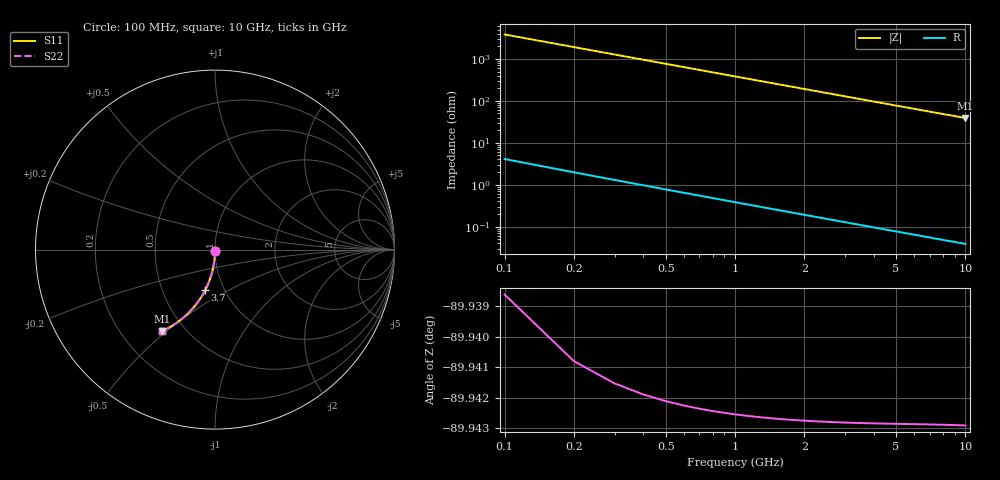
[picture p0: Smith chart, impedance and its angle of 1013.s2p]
# Hz S RI R 50.00
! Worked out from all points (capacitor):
!   100 points, 100 MHz to 10 GHz, reference 50 ohm
!   read as one part in shunt: C = 416 fF near 100 MHz
!   lowest |Z| = 38.9 ohm at 10 GHz (marker M1)
!   S11 on the Smith chart (normalised r, x): 100 MHz: 1.00, -0.01; 3.7 GHz: 0.81, -0.39; 10 GHz: 0.38, -0.48
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1e8  -4.67e-05 -0.00652  0.9999 -0.00655  0.9999 -0.00655  -4.67e-05 -0.00652
2e8  -0.000181 -0.013  0.9998 -0.0131  0.9998 -0.0131  -0.000181 -0.013
3e8  -0.000401 -0.0195  0.9996 -0.0196  0.9996 -0.0196  -0.000401 -0.0195
4e8  -0.000706 -0.0261  0.9993 -0.0262  0.9993 -0.0262  -0.000706 -0.0261
5e8  -0.0011 -0.0326  0.9989 -0.0327  0.9989 -0.0327  -0.0011 -0.0326
6e8  -0.00157 -0.039  0.9984 -0.0392  0.9984 -0.0392  -0.00157 -0.039
7e8  -0.00213 -0.0455  0.9979 -0.0457  0.9979 -0.0457  -0.00213 -0.0455
8e8  -0.00277 -0.052  0.9972 -0.0522  0.9972 -0.0522  -0.00277 -0.052
9e8  -0.0035 -0.0584  0.9965 -0.0587  0.9965 -0.0587  -0.0035 -0.0584
1.1e9  -0.0052 -0.0713  0.9948 -0.0716  0.9948 -0.0716  -0.0052 -0.0713
1.4e9  -0.00836 -0.0903  0.9916 -0.0908  0.9916 -0.0908  -0.00836 -0.0903
1.8e9  -0.0137 -0.1154  0.9863 -0.116  0.9863 -0.116  -0.0137 -0.1154
2.1e9  -0.0185 -0.1339  0.9815 -0.1346  0.9815 -0.1346  -0.0185 -0.1339
2.5e9  -0.0259 -0.1581  0.9741 -0.1588  0.9741 -0.1588  -0.0259 -0.1581
2.9e9  -0.0345 -0.1816  0.9655 -0.1825  0.9655 -0.1825  -0.0345 -0.1816
3.4e9  -0.0467 -0.21  0.9533 -0.211  0.9533 -0.211  -0.0467 -0.21
3.7e9  -0.0548 -0.2264  0.9452 -0.2276  0.9452 -0.2276  -0.0548 -0.2264
4.4e9  -0.0755 -0.263  0.9245 -0.2643  0.9245 -0.2643  -0.0755 -0.263
5.1e9  -0.0986 -0.2968  0.9014 -0.2984  0.9014 -0.2984  -0.0986 -0.2968
6.7e9  -0.1579 -0.3631  0.8421 -0.3652  0.8421 -0.3652  -0.1579 -0.3631
8.4e9  -0.2267 -0.4169  0.7732 -0.4195  0.7732 -0.4195  -0.2267 -0.4169
1e10  -0.2927 -0.453  0.7072 -0.4561  0.7072 -0.4561  -0.2927 -0.453
